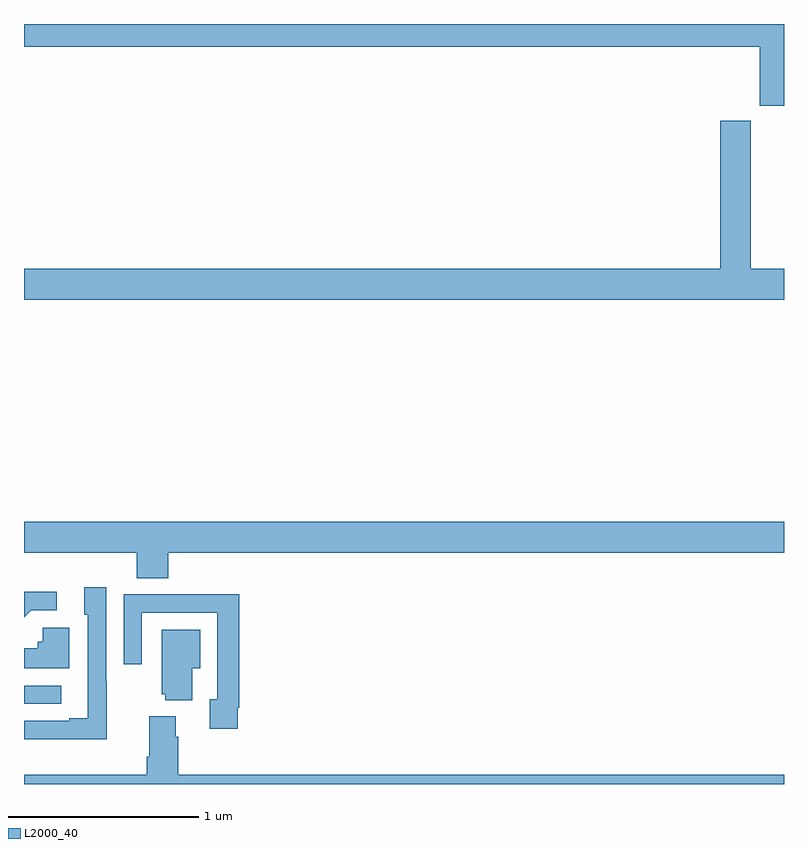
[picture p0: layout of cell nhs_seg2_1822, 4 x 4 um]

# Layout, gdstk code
import gdstk
lib = gdstk.Library(unit=1e-6, precision=1e-09)
def R(c, l, rs):  # rectangles x0, y0, x1, y1
    for r in rs: c.add(gdstk.rectangle(r[:2], r[2:], *l))
def P(c, l, *ps):  # polygons
    for p in ps: c.add(gdstk.Polygon(p, *l))
L2000_40 = (2000, 40)

nhs_seg2_1822 = lib.new_cell('nhs_seg2_1822')
R(nhs_seg2_1822, L2000_40, [(207,600.222,207.196,600.318)])
P(nhs_seg2_1822, L2000_40, [(211,603.8),(207,603.8),(207,603.68),(210.872,603.68),(210.872,603.371),(211,603.371)],
  [(211,602.512),(210.825,602.512),(210.825,603.292),(210.665,603.292),(210.665,602.512),(207,602.512),(207,602.348),(211,602.348)],
  [(207.758,601.016),(211,601.016),(211,601.18),(207,601.18),(207,601.016),(207.593,601.016),(207.593,600.883),(207.758,600.883)],
  [(207.435,600.341),(207.432,600.341),(207.432,600.835),(207.317,600.835),(207.317,600.69),(207.336,600.69),(207.336,600.145),(207.239,600.145),(207.239,600.132),(207,600.132),(207,600.035),(207.435,600.035)],
  [(207.037,600.714),(207.172,600.714),(207.172,600.812),(207,600.812),(207,600.677)],
  [(208.126,600.202),(208.133,600.202),(208.133,600.8),(207.841,600.8),(207.841,600.798),(207.525,600.798),(207.525,600.429),(207.621,600.429),(207.621,600.702),(208.017,600.702),(208.017,600.246),(207.977,600.246),(207.977,600.09),(208.126,600.09)],
  [(207.238,600.622),(207.099,600.622),(207.099,600.549),(207.073,600.549),(207.073,600.514),(207,600.514),(207,600.41),(207.238,600.41)],
  [(207.886,600.41),(207.928,600.41),(207.928,600.613),(207.725,600.613),(207.725,600.273),(207.743,600.273),(207.743,600.242),(207.886,600.242)],
  [(211,599.848),(207.812,599.848),(207.812,600.05),(207.799,600.05),(207.799,600.157),(207.659,600.157),(207.659,599.944),(207.647,599.944),(207.647,599.848),(207,599.848),(207,599.8),(211,599.8)])

lib.write_gds('nhs_seg2_1822.gds')
